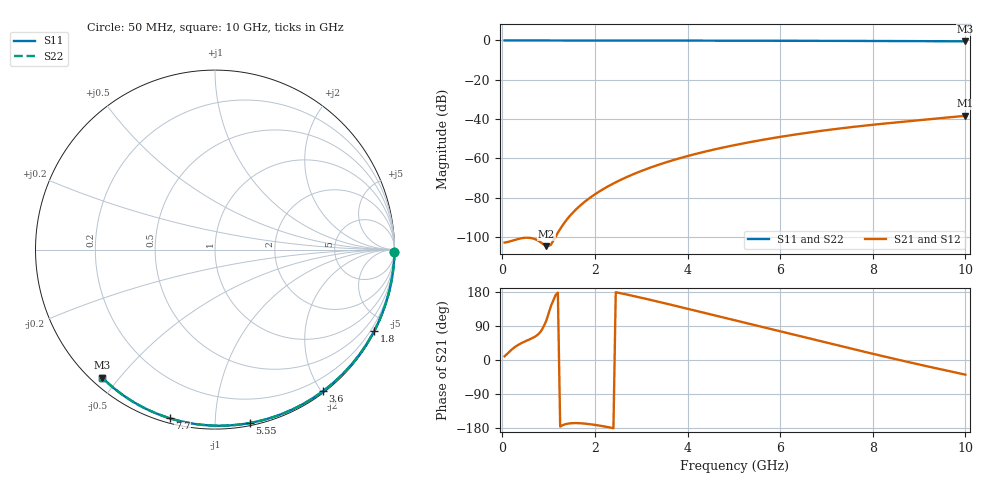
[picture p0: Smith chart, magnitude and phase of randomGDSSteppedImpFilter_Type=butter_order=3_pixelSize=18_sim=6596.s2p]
! freq	dB(S11)	phase(S11)	dB(S12)	phase(S12)
!  dB(S21)	phase(S21)	dB(S22)	phase(S22)
!S-par simulation data
#  GHz  S  DB  R 50
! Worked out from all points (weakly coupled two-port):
!   200 points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, 50 MHz to 10 GHz, reference 50 ohm
!   highest |S21| = -38.31 dB at 10 GHz (marker M1); lowest = -104.7 dB at 950 MHz (marker M2)
!   lowest |S11| = -0.4 dB at 10 GHz (marker M3), VSWR 39.51, Z = 1.52 - j22.5 ohm
!   |S11| at or under -10 dB: nowhere
!   |S22| runs from -0.4 to 0.0 dB; largest |S21 - S12| = 0
!   S11 on the Smith chart (normalised r, x): 50 MHz: open; 1.8 GHz: 0.04, -4.17; 3.6 GHz: 0.02, -2.02; 5.55 GHz: 0.02, -1.22; 7.7 GHz: 0.02, -0.77; 10 GHz: 0.03, -0.45
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0.05  -0.00 -0.8  -102.83 9.8  -102.83 9.8  -0.00 -0.8
0.5  -0.01 -7.6  -100.39 49.6  -100.39 49.6  -0.01 -7.6
0.95  -0.02 -14.4  -104.67 103.6  -104.67 103.6  -0.02 -14.4
1.75  -0.03 -26.2  -82.65 -167.5  -82.65 -167.5  -0.03 -26.2
1.8  -0.03 -27.0  -81.70 -168.1  -81.70 -168.1  -0.03 -27.0
1.9  -0.04 -28.4  -79.93 -169.5  -79.93 -169.5  -0.04 -28.4
2.05  -0.04 -30.6  -77.52 -172.2  -77.52 -172.2  -0.04 -30.6
2.25  -0.04 -33.5  -74.68 -176.4  -74.68 -176.4  -0.04 -33.5
2.45  -0.05 -36.4  -72.16 178.9  -72.16 178.9  -0.05 -36.4
2.65  -0.05 -39.3  -69.90 173.8  -69.90 173.8  -0.05 -39.3
3  -0.06 -44.3  -66.43 164.3  -66.43 164.3  -0.06 -44.3
3.4  -0.07 -49.9  -63.04 152.9  -63.04 152.9  -0.07 -49.9
3.6  -0.07 -52.7  -61.53 147.1  -61.53 147.1  -0.07 -52.7
4.3  -0.09 -62.3  -57.00 126.3  -57.00 126.3  -0.09 -62.3
5.05  -0.11 -72.2  -53.09 104.0  -53.09 104.0  -0.11 -72.2
5.55  -0.13 -78.7  -50.86 89.1  -50.86 89.1  -0.13 -78.7
6.1  -0.15 -85.7  -48.69 72.8  -48.69 72.8  -0.15 -85.7
6.7  -0.18 -93.1  -46.59 54.9  -46.59 54.9  -0.18 -93.1
7.7  -0.24 -105.1  -43.66 25.2  -43.66 25.2  -0.24 -105.1
8.35  -0.29 -112.7  -42.06 6.3  -42.06 6.3  -0.29 -112.7
9.15  -0.36 -121.8  -40.28 -16.0  -40.28 -16.0  -0.36 -121.8
10  -0.44 -131.4  -38.31 -38.7  -38.31 -38.7  -0.44 -131.4
